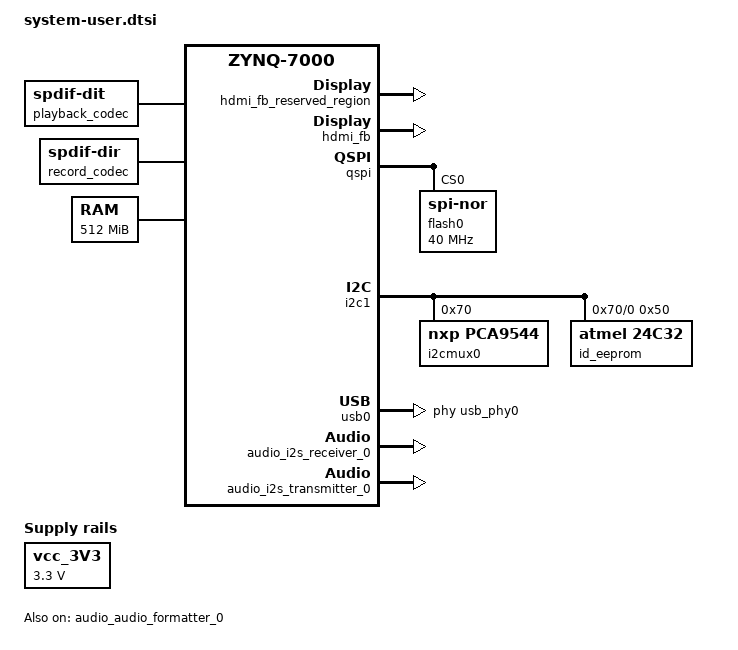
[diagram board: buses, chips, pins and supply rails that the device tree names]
/* SchneiOS TE0726 Linux-specific configuration.
 * Include AFTER zynq-7000.dtsi, pl.dtsi and pcw.dtsi.
 * Do not include system-conf.dtsi here.
 */

/ {
    #address-cells = <1>;
    #size-cells = <1>;

    reserved-memory {
        #address-cells = <1>;
        #size-cells = <1>;
        ranges;

        hdmi_fb_reserved_region: framebuffer@1fc00000 {
            compatible = "shared-dma-pool";
            no-map;
            reg = <0x1fc00000 0x00400000>;
        };
    };

    hdmi_fb: framebuffer@1fc00000 {
        compatible = "simple-framebuffer";
        reg = <0x1fc00000 (1280 * 720 * 4)>;
        width = <1280>;
        height = <720>;
        stride = <(1280 * 4)>;
        format = "a8b8g8r8";
        status = "okay";
    };

    vcc_3V3: fixedregulator {
        compatible = "regulator-fixed";
        regulator-name = "vccaux-supply";
        regulator-min-microvolt = <3300000>;
        regulator-max-microvolt = <3300000>;
        regulator-always-on;
    };

    usb_phy0: usb-phy@e0002000 {
        compatible = "ulpi-phy";
        #phy-cells = <0>;
        reg = <0xe0002000 0x1000>;
        view-port = <0x0170>;
        drv-vbus;
    };

    playback_codec: playback-codec {
        compatible = "linux,spdif-dit";
        #sound-dai-cells = <0>;
    };

    record_codec: record-codec {
        compatible = "linux,spdif-dir";
        #sound-dai-cells = <0>;
    };

    sound {
        compatible = "simple-audio-card";
        #address-cells = <1>;
        #size-cells = <0>;

        simple-audio-card,widgets =
            "Microphone", "In Jack",
            "Line", "Line In Jack",
            "Line", "Line Out Jack",
            "Headphone", "Out Jack";

        simple-audio-card,routing =
            "Out Jack", "te-out",
            "te-in", "In Jack";

        playback_link: simple-audio-card,dai-link@0 {
            reg = <0>;
            format = "i2s";
            bitclock-master = <&p_codec_dai>;
            frame-master = <&p_codec_dai>;

            p_cpu_dai: cpu {
                sound-dai = <&audio_i2s_transmitter_0>;
            };
            p_platform_dai: plat {
                sound-dai = <&audio_audio_formatter_0>;
            };
            p_codec_dai: codec {
                sound-dai = <&playback_codec>;
            };
        };

        record_link: simple-audio-card,dai-link@1 {
            reg = <1>;
            format = "i2s";
            bitclock-master = <&r_codec_dai>;
            frame-master = <&r_codec_dai>;

            r_cpu_dai: cpu {
                sound-dai = <&audio_i2s_receiver_0>;
            };
            r_platform_dai: plat {
                sound-dai = <&audio_audio_formatter_0>;
            };
            r_codec_dai: codec {
                sound-dai = <&record_codec>;
            };
        };
    };
};

&qspi {
    #address-cells = <1>;
    #size-cells = <0>;
    status = "okay";

    flash0: flash@0 {
        compatible = "jedec,spi-nor";
        reg = <0>;
        #address-cells = <1>;
        #size-cells = <1>;
        spi-rx-bus-width = <4>;
        spi-tx-bus-width = <4>;
        spi-max-frequency = <40000000>;
    };
};

/* Hardware is initialized by FSBL; do not let Linux reconfigure VDMA. */
&video_in_axi_vdma_0 { status = "disabled"; };
&video_out_axi_vdma_0 { status = "disabled"; };
&video_out_v_tc_0 { status = "disabled"; };

&gpio0 {
    interrupt-controller;
    #interrupt-cells = <2>;
};

&i2c1 {
    #address-cells = <1>;
    #size-cells = <0>;

    i2cmux0: i2c-mux@70 {
        compatible = "nxp,pca9544";
        #address-cells = <1>;
        #size-cells = <0>;
        reg = <0x70>;

        i2c@0 {
            #address-cells = <1>;
            #size-cells = <0>;
            reg = <0>;
            id_eeprom: eeprom@50 {
                compatible = "atmel,24c32";
                reg = <0x50>;
            };
        };
        i2c@1 {
            #address-cells = <1>;
            #size-cells = <0>;
            reg = <1>;
        };
        i2c@2 {
            #address-cells = <1>;
            #size-cells = <0>;
            reg = <2>;
        };
        i2c@3 {
            #address-cells = <1>;
            #size-cells = <0>;
            reg = <3>;
        };
    };
};

&usb0 {
    usb-phy = <&usb_phy0>;
};

/* Reuse the hardware nodes provided by pl.dtsi, without duplicating reg/IRQ/clocks. */
&audio_audio_formatter_0 {
    #sound-dai-cells = <0>;
    status = "okay";
};
&audio_i2s_receiver_0 {
    #sound-dai-cells = <0>;
    status = "okay";
};
&audio_i2s_transmitter_0 {
    #sound-dai-cells = <0>;
    status = "okay";
};

/* The counter at 0x43c60000 is already defined in pl.dtsi. */

/* Reserve XADC for the existing audio-recording use case. */
&adc { status = "disabled"; };

/*-------------------- EARLY LINUX BOOT FIXES --------------------*/
/* SDTGen's board-only root compatible overrides zynq-7000.dtsi.
 * Keep both the specific board identity and the generic Zynq-7000 match.
 */
/ {
    compatible = "xlnx,te0726_10_1c", "xlnx,zynq-7000";

    chosen {
        stdout-path = "serial0:115200n8";
        bootargs = "console=ttyPS0,115200 earlycon root=/dev/ram0 rw loglevel=8 ignore_loglevel";
    };
};

/* The address-map below is hardware-generation metadata and references
 * the four generated memory nodes. Linux does not need this property.
 * Remove it before replacing those nodes with the proper Linux RAM map.
 */
&cpus_a9 {
    /delete-property/ address-map;
};

/* Do not present QSPI's linear window or PS OCM as general-purpose RAM. */
/delete-node/ &ps7_qspi_linear_0_memory;
/delete-node/ &ps7_ddr_0_memory;
/delete-node/ &ps7_ram_0_memory;
/delete-node/ &ps7_ram_1_memory;

/* Same RAM layout as the previously booting DTB: 512 MiB starting at zero.
 * The framebuffer's last 4 MiB remain reserved by the reserved-memory
 * section above.
 */
/ {
    memory@0 {
        device_type = "memory";
        reg = <0x00000000 0x20000000>;
    };
};
